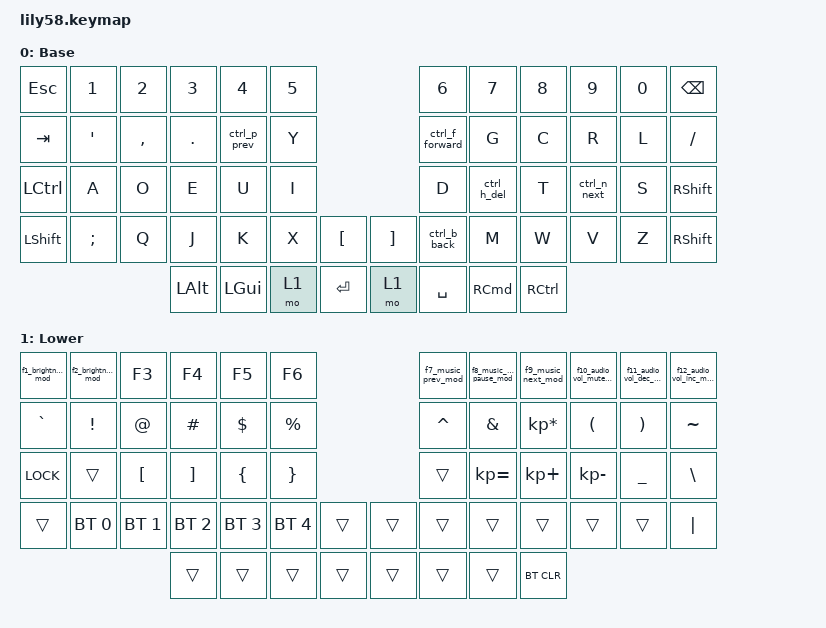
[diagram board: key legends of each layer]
/*
 * Copyright (c) 2020 The ZMK Contributors
 *
 * SPDX-License-Identifier: MIT
 */

#include <behaviors.dtsi>
#include <dt-bindings/zmk/bt.h>
#include <dt-bindings/zmk/keys.h>

/ {
    combos { compatible = "zmk,combos"; };

    behaviors {
        ctrl_n_next: ctrl_n_next {
            compatible = "zmk,behavior-mod-morph";
            label = "CTRL_N_NEXT";
            bindings = <&kp N>, <&kp DOWN_ARROW>;

            #binding-cells = <0>;
            mods = <(MOD_LCTL)>;
        };

        ctrl_b_back: ctrl_b_back {
            compatible = "zmk,behavior-mod-morph";
            label = "CTRL_B_BACK";
            bindings = <&kp B>, <&kp LEFT_ARROW>;

            #binding-cells = <0>;
            mods = <(MOD_LCTL)>;
        };

        ctrl_f_forward: ctrl_f_forward {
            compatible = "zmk,behavior-mod-morph";
            label = "CTRL_F_FORWARD";
            bindings = <&kp F>, <&kp RIGHT_ARROW>;

            #binding-cells = <0>;
            mods = <(MOD_LCTL)>;
        };

        ctrl_p_prev: ctrl_p_prev {
            compatible = "zmk,behavior-mod-morph";
            label = "CTRL_P_PREV";
            bindings = <&kp P>, <&kp UP_ARROW>;

            #binding-cells = <0>;
            mods = <(MOD_LCTL)>;
        };

        ctrl_h_del: ctrl_h_del {
            compatible = "zmk,behavior-mod-morph";
            label = "CTRL_H_DEL";
            bindings = <&kp H>, <&kp BACKSPACE>;

            #binding-cells = <0>;
            mods = <(MOD_LCTL)>;
        };

        f1_brightness_mod: f1_brightness_mod {
            compatible = "zmk,behavior-mod-morph";
            label = "F1_BRIGHTNESS_MOD";
            bindings = <&kp F1>, <&kp F14>;

            #binding-cells = <0>;
            mods = <(MOD_RGUI)>;
        };

        f2_brightness_mod: f2_brightness_mod {
            compatible = "zmk,behavior-mod-morph";
            label = "F2_BRIGHTNESS_MOD";
            bindings = <&kp F2>, <&kp F15>;

            #binding-cells = <0>;
            mods = <(MOD_RGUI)>;
        };

        f7_music_prev_mod: f7_music_prev_mod {
            compatible = "zmk,behavior-mod-morph";
            label = "F7_MUSIC_PREV_MOD";
            bindings = <&kp F7>, <&kp K_PREVIOUS>;

            #binding-cells = <0>;
            mods = <(MOD_LCTL)>;
        };

        f8_music_play_pause_mod: f8_music_play_pause_mod {
            compatible = "zmk,behavior-mod-morph";
            label = "F8_MUSIC_PLAY_PAUSE_MOD";
            bindings = <&kp F8>, <&kp K_PLAY_PAUSE>;

            #binding-cells = <0>;
            mods = <(MOD_LCTL)>;
        };

        f9_music_next_mod: f9_music_next_mod {
            compatible = "zmk,behavior-mod-morph";
            label = "F9_MUSIC_NEXT_MOD";
            bindings = <&kp F9>, <&kp K_NEXT>;

            #binding-cells = <0>;
            mods = <(MOD_LCTL)>;
        };

        f10_audio_vol_mute_mod: f10_audio_vol_mute_mod {
            compatible = "zmk,behavior-mod-morph";
            label = "F10_AUDIO_VOL_MUTE_MOD";
            bindings = <&kp F10>, <&kp C_MUTE>;

            #binding-cells = <0>;
            mods = <(MOD_LCTL)>;
        };

        f11_audio_vol_dec_mod: f11_audio_vol_dec_mod {
            compatible = "zmk,behavior-mod-morph";
            label = "F11_AUDIO_VOL_DEC_MOD";
            bindings = <&kp F11>, <&kp C_VOL_DN>;

            #binding-cells = <0>;
            mods = <(MOD_LCTL)>;
        };

        f12_audio_vol_inc_mod: f12_audio_vol_inc_mod {
            compatible = "zmk,behavior-mod-morph";
            label = "F12_AUDIO_VOL_INC_MOD";
            bindings = <&kp F12>, <&kp C_VOL_UP>;

            #binding-cells = <0>;
            mods = <(MOD_LCTL)>;
        };
    };

    keymap {
        compatible = "zmk,keymap";

        default_layer {
            display-name = "Base";
            bindings = <
&kp ESC    &kp N1         &kp N2     &kp N3      &kp N4        &kp N5                         &kp N6           &kp N7             &kp N8     &kp N9        &kp N0  &kp BACKSPACE
&kp TAB    &kp SQT        &kp COMMA  &kp PERIOD  &ctrl_p_prev  &kp Y                          &ctrl_f_forward  &kp G              &kp C      &kp R         &kp L   &kp SLASH
&kp LCTRL  &kp A          &kp O      &kp E       &kp U         &kp I                          &kp D            &ctrl_h_del        &kp T      &ctrl_n_next  &kp S   &kp RSHFT
&kp LSHFT  &kp SEMICOLON  &kp Q      &kp J       &kp K         &kp X   &kp LBKT     &kp RBKT  &ctrl_b_back     &kp M              &kp W      &kp V         &kp Z   &kp RSHFT
                                     &kp LALT    &kp LGUI      &mo 1   &kp ENTER    &mo 1     &kp SPACE        &kp RIGHT_COMMAND  &kp RCTRL
            >;
        };

        lower_layer {
            display-name = "Lower";
            bindings = <
&f1_brightness_mod  &f2_brightness_mod  &kp F3            &kp F4             &kp F5          &kp F6                          &f7_music_prev_mod  &f8_music_play_pause_mod  &f9_music_next_mod  &f10_audio_vol_mute_mod  &f11_audio_vol_dec_mod  &f12_audio_vol_inc_mod
&kp GRAVE           &kp EXCL            &kp AT            &kp HASH           &kp DOLLAR      &kp PRCNT                       &kp CARET           &kp AMPS                  &kp KP_MULTIPLY     &kp LPAR                 &kp RPAR                &kp TILDE
&kp K_LOCK          &trans              &kp LEFT_BRACKET  &kp RIGHT_BRACKET  &kp LEFT_BRACE  &kp RBRC                        &trans              &kp KP_EQUAL              &kp KP_PLUS         &kp KP_MINUS             &kp UNDERSCORE          &kp BACKSLASH
&trans              &bt BT_SEL 0        &bt BT_SEL 1      &bt BT_SEL 2       &bt BT_SEL 3    &bt BT_SEL 4  &trans    &trans  &trans              &trans                    &trans              &trans                   &trans                  &kp PIPE
                                                          &trans             &trans          &trans        &trans    &trans  &trans              &trans                    &bt BT_CLR
            >;
        };
    };
};
